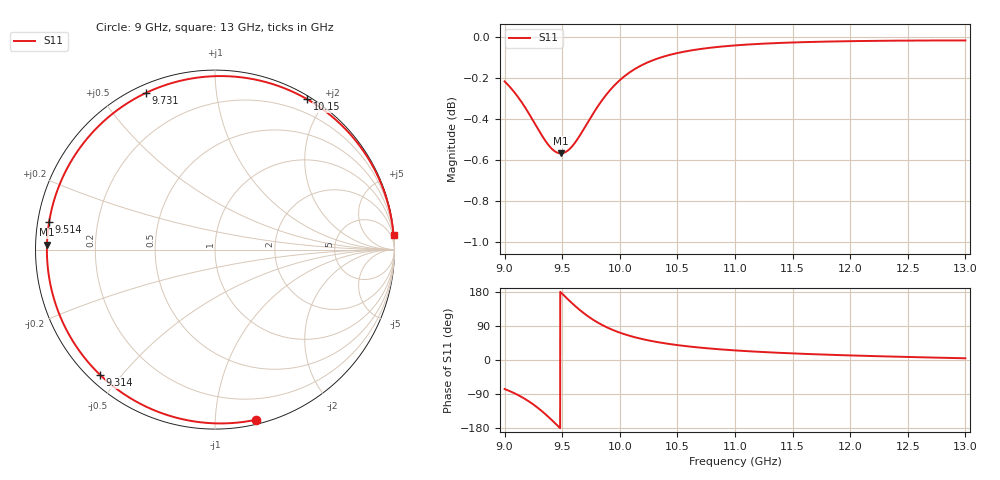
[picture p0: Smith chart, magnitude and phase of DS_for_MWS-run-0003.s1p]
! TOUCHSTONE file generated by CST DESIGN STUDIO
! Date and time: Tue Feb  4 15:46:05 2025
! Project name: C:\Work\MatlabApps\UnitCellOptimizationMatlab\CST\unitcell.cst
! Tree item: Tasks\Sweep1\SPara1\S-Parameters
! Header version: 2024
! Port assignment regex: !\s*Touchstone port\s*([0-9]+)\s*=\s*(CST MWS port|CST DES external port|CST DES block port)\s*(.+)\s* \(\"(.*)\"\)(\s*mode\s*([0-9]+))?.*
! Touchstone port assignment:
! Touchstone port 1 = CST DES external port 1 ("")
# GHz S MA R 50
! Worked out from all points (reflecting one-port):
!   4001 points, 9 GHz to 13 GHz, reference 50 ohm
!   lowest |S11| = -0.6 dB at 9.488 GHz (marker M1), VSWR 30.59, Z = 1.63 + j0.725 ohm
!   phase of S11 starts at -77 deg and turns -279 deg over the sweep
!   S11 on the Smith chart (normalised r, x): 9 GHz: 0.03, -1.27; 9.314 GHz: 0.03, -0.44; 9.514 GHz: 0.03, +0.08; 9.731 GHz: 0.03, +0.65; 10.15 GHz: 0.04, +1.78; 13 GHz: 1, +25
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9  0.9752 -76.6
9.08  0.9697 -87.0
9.179  0.961 -103.2
9.249  0.9539 -117.3
9.314  0.9471 -132.5
9.36  0.9428 -144.6
9.409  0.9391 -158.3
9.449  0.9373 -170.0
9.488  0.9367 178.3
9.5  0.9368 174.7
9.514  0.937 170.6
9.567  0.9392 155.1
9.627  0.9437 138.6
9.678  0.9486 125.8
9.731  0.954 113.8
9.785  0.9594 103.0
9.845  0.9649 92.7
9.921  0.9708 81.6
10  0.9759 72.2
10.15  0.9827 58.5
10.309  0.9873 48.2
10.5  0.9908 39.3
10.722  0.9932 31.9
11  0.995 25.3
11.5  0.9967 17.4
12  0.9974 12.1
12.5  0.9977 8.0
13  0.9978 4.5
